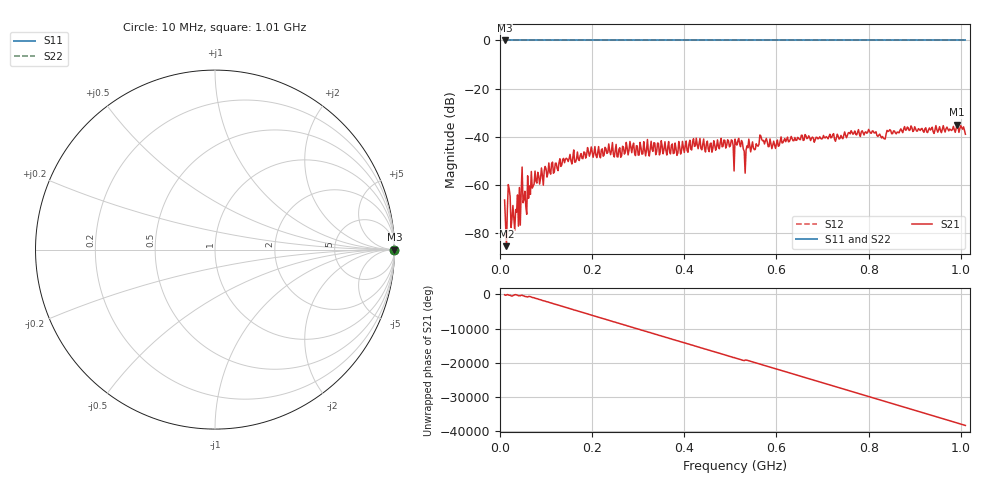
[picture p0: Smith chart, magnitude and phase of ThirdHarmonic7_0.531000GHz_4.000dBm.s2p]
! 8/17/2025 3:48:54 PM
! C:\ANRITSUVNA\TEMP\TEMP.S2P
! CHANNEL.1
! TR.MEASUREMENT
! RAW.DATA
! RF.CORRECTION.OFF
! AVERAGING.OFF
! IF.BANDWIDTH: 5KHZ
! SWEEPTYPE:  FREQ.SWEEP(Linear)
! Reference Plane Port Info
! PORT:  PORT1  PORT2
! DISTANCE:  0  m  0  m
! TIME:  0  s  0  s
! PHASE.OFFSET:  0  deg.  0  deg.
! LOSS:  0  dB  0  dB
! REF.LOSS:  0  dB  0  dB
! REF.FREQ:  0  Hz  0  Hz
! Power Info
! POWER:  -20  dBm  -20  dBm
! EFF.POWER:  -20  dBm  -20  dBm
! SOURCE.ATTEN:  0  dB  0  dB
! TEST.ATTEN:  0  dB  0  dB
# GHZ S RI R 50.0
! FREQ.GHZ  S11RE  S11IM  S21RE  S21IM  S12RE  S12IM  S22RE  S22IM
!; PortSelection: Port_12
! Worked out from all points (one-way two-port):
!   501 points, 10 MHz to 1.01 GHz, reference 50 ohm
!   highest |S21| = -34.90 dB at 992 MHz (marker M1); lowest = -85.4 dB at 14 MHz (marker M2)
!   lowest |S11| = 0.0 dB at 10 MHz (marker M3)
!   |S11| at or under -10 dB: nowhere
!   |S22| runs from 0.0 to 0.0 dB; largest |S21 - S12| = 1
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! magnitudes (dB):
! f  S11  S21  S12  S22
! 10 MHz  0.0  -66.2  0.0  0.0
! 14 MHz  0.0  -85.4  0.0  0.0
! 20 MHz  0.0  -61.7  0.0  0.0
! 28 MHz  0.0  -68.5  0.0  0.0
! 50 MHz  0.0  -67.4  0.0  0.0
! 54 MHz  0.0  -62.6  0.0  0.0
! 72 MHz  0.0  -60.5  0.0  0.0
! 178 MHz  0.0  -49.0  0.0  0.0
! 344 MHz  0.0  -42.7  0.0  0.0
! 422 MHz  0.0  -44.0  0.0  0.0
! 510 MHz  0.0  -40.9  0.0  0.0
! 522 MHz  0.0  -44.1  0.0  0.0
! 534 MHz  0.0  -45.5  0.0  0.0
! 538 MHz  0.0  -44.5  0.0  0.0
! 568 MHz  0.0  -41.1  0.0  0.0
! 594 MHz  0.0  -41.8  0.0  0.0
! 678 MHz  0.0  -40.1  0.0  0.0
! 804 MHz  0.0  -38.4  0.0  0.0
! 832 MHz  0.0  -40.5  0.0  0.0
! 844 MHz  0.0  -37.6  0.0  0.0
! 992 MHz  0.0  -34.9  0.0  0.0
! 1.01 GHz  0.0  -38.9  0.0  0.0
